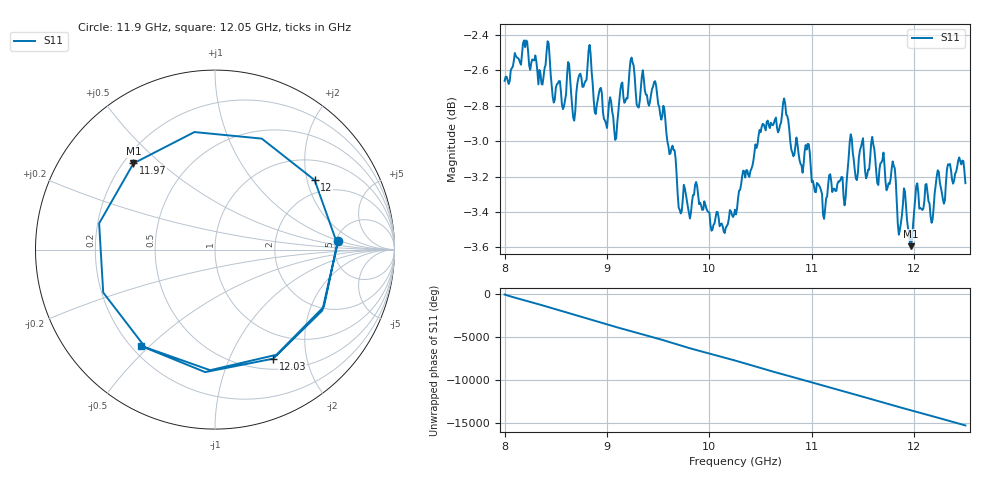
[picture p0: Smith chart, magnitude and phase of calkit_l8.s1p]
#  HZ  S  RI  R  50.00
! Rohde & Schwarz Vector Network Analyzer
! Rohde-Schwarz,ZNA43-4Port,1332450044101932,2.92
! Created: UTC 6/2/2026, 7:38:59 AM
! freq[Hz]  re:S11  im:S11
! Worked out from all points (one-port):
!   451 points, 8 GHz to 12.5 GHz, reference 50 ohm
!   lowest |S11| = -3.6 dB at 11.97 GHz (marker M1), VSWR 4.90, Z = 12 + j20.5 ohm
!   |S11| at or under -10 dB: nowhere
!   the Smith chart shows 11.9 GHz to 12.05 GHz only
!   S11 on the Smith chart (normalised r, x): 11.9 GHz: 5.21, +0.93; 11.97 GHz: 0.24, +0.41; 12 GHz: 1.56, +2.23; 12.03 GHz: 0.64, -1.47; 12.05 GHz: 0.24, -0.47
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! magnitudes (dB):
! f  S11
! 8 GHz  -2.7
! 8.2 GHz  -2.5
! 8.57 GHz  -2.8
! 8.83 GHz  -2.5
! 8.98 GHz  -2.9
! 9.09 GHz  -3.0
! 9.13 GHz  -2.7
! 9.24 GHz  -2.5
! 9.3 GHz  -2.8
! 9.47 GHz  -2.7
! 9.69 GHz  -3.3
! 10.25 GHz  -3.4
! 10.51 GHz  -2.9
! 10.74 GHz  -2.8
! 10.82 GHz  -3.1
! 10.96 GHz  -3.0
! 11.13 GHz  -3.4
! 11.33 GHz  -3.3
! 11.38 GHz  -3.0
! 11.8 GHz  -3.1
! 11.86 GHz  -3.5
! 11.9 GHz  -3.3
! 11.94 GHz  -3.5
! 11.97 GHz  -3.6
! 12 GHz  -3.4
! 12.03 GHz  -3.2
! 12.05 GHz  -3.4
! 12.5 GHz  -3.2
